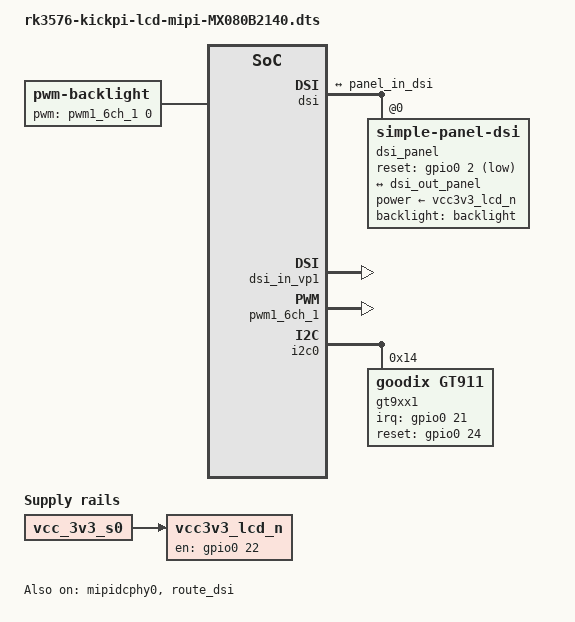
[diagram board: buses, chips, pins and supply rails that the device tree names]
/dts-v1/;
/plugin/;

/ {
    fragment@0 {
        target-path = "/";
        __overlay__ {
            backlight: backlight {
                compatible = "pwm-backlight";
                pwms = <&pwm1_6ch_1 0 25000 0>;
                brightness-levels = <
                    0  20  20  21  21  22  22  23
                    23  24  24  25  25  26  26  27
                    27  28  28  29  29  30  30  31
                    31  32  32  33  33  34  34  35
                    35  36  36  37  37  38  38  39
                    40  41  42  43  44  45  46  47
                    48  49  50  51  52  53  54  55
                    56  57  58  59  60  61  62  63
                    64  65  66  67  68  69  70  71
                    72  73  74  75  76  77  78  79
                    80  81  82  83  84  85  86  87
                    88  89  90  91  92  93  94  95
                    96  97  98  99 100 101 102 103
                    104 105 106 107 108 109 110 111
                    112 113 114 115 116 117 118 119
                    120 121 122 123 124 125 126 127
                    128 129 130 131 132 133 134 135
                    136 137 138 139 140 141 142 143
                    144 145 146 147 148 149 150 151
                    152 153 154 155 156 157 158 159
                    160 161 162 163 164 165 166 167
                    168 169 170 171 172 173 174 175
                    176 177 178 179 180 181 182 183
                    184 185 186 187 188 189 190 191
                    192 193 194 195 196 197 198 199
                    200 201 202 203 204 205 206 207
                    208 209 210 211 212 213 214 215
                    216 217 218 219 220 221 222 223
                    224 225 226 227 228 229 230 231
                    232 233 234 235 236 237 238 239
                    240 241 242 243 244 245 246 247
                    248 249 250 251 252 253 254 255
                >;
                default-brightness-level = <200>;
            };

            vcc3v3_lcd_n: vcc3v3-lcd0-n {
                compatible = "regulator-fixed";
                regulator-name = "vcc3v3_lcd0_n";
                regulator-boot-on;
                enable-active-high;
                gpio = <&gpio0 22 0>;
                vin-supply = <&vcc_3v3_s0>;
            };
        };
    };

    fragment@1 {
        target = <&dsi>;
        __overlay__ {
            status = "okay";
            #address-cells = <1>;
            #size-cells = <0>;
            dsi_panel: panel@0 {
                status = "okay";
                
                compatible = "simple-panel-dsi";
                reg = <0>;
                backlight = <&backlight>;
                power-supply = <&vcc3v3_lcd_n>;

                reset-gpios = <&gpio0 2 1>;

                reset-delay-ms = <120>;
                enable-delay-ms = <120>;
                prepare-delay-ms = <120>;
                init-delay-ms = <120>;
                unprepare-delay-ms = <60>;
                disable-delay-ms = <60>;
                
                width-mm = <68>;
                height-mm = <121>;
                
                dsi,flags = <((1 << 0) | (1 << 1) |
                        (1 << 11) | (1 << 9))>;
                dsi,format = <0>;
                dsi,lanes  = <4>;
                
                panel-init-sequence = [
                    39 00 04 FF 98 81 03
                    15 00 02 01 00
                    15 00 02 02 00
                    15 00 02 03 57  
                    15 00 02 04 D3  
                    15 00 02 05 00    
                    15 00 02 06 11    
                    15 00 02 07 08  
                    15 00 02 08 00    
                    15 00 02 09 00    
                    15 00 02 0a 3F  
                    15 00 02 0b 00    
                    15 00 02 0c 00    
                    15 00 02 0d 00    
                    15 00 02 0e 00    
                    15 00 02 0f 3F  
                    15 00 02 10 3F  
                    15 00 02 11 00      
                    15 00 02 12 00    
                    15 00 02 13 00    
                    15 00 02 14 00
                    15 00 02 15 00    
                    15 00 02 16 00    
                    15 00 02 17 00    
                    15 00 02 18 00    
                    15 00 02 19 00
                    15 00 02 1a 00
                    15 00 02 1b 00  
                    15 00 02 1c 00
                    15 00 02 1d 00
                    15 00 02 1e 40    
                    15 00 02 1f 80    
                    15 00 02 20 06    
                    15 00 02 21 01    
                    15 00 02 22 00    
                    15 00 02 23 00    
                    15 00 02 24 00    
                    15 00 02 25 00    
                    15 00 02 26 00
                    15 00 02 27 00
                    15 00 02 28 33    
                    15 00 02 29 33    
                    15 00 02 2a 00 
                    15 00 02 2b 00
                    15 00 02 2c 00    
                    15 00 02 2d 00    
                    15 00 02 2e 00    
                    15 00 02 2f 00    
                    15 00 02 30 00
                    15 00 02 31 00
                    15 00 02 32 00    
                    15 00 02 33 00
                    15 00 02 34 00    
                    15 00 02 35 00    
                    15 00 02 36 00
                    15 00 02 37 00    
                    15 00 02 38 78	
                    15 00 02 39 00
                    15 00 02 3a 00 
                    15 00 02 3b 00
                    15 00 02 3c 00
                    15 00 02 3d 00
                    15 00 02 3e 00
                    15 00 02 3f 00
                    15 00 02 40 00
                    15 00 02 41 00
                    15 00 02 42 00
                    15 00 02 43 00    
                    15 00 02 44 00
                    15 00 02 50 00
                    15 00 02 51 23
                    15 00 02 52 45
                    15 00 02 53 67
                    15 00 02 54 89
                    15 00 02 55 ab
                    15 00 02 56 01
                    15 00 02 57 23
                    15 00 02 58 45
                    15 00 02 59 67
                    15 00 02 5a 89
                    15 00 02 5b ab
                    15 00 02 5c cd
                    15 00 02 5d ef
                    15 00 02 5e 00
                    15 00 02 5f 0D   
                    15 00 02 60 0D   
                    15 00 02 61 0C   
                    15 00 02 62 0C   
                    15 00 02 63 0F   
                    15 00 02 64 0F   
                    15 00 02 65 0E   
                    15 00 02 66 0E   
                    15 00 02 67 08   
                    15 00 02 68 02   
                    15 00 02 69 02   
                    15 00 02 6a 02   
                    15 00 02 6b 02   
                    15 00 02 6c 02   
                    15 00 02 6d 02   
                    15 00 02 6e 02   
                    15 00 02 6f 02   
                    15 00 02 70 14   
                    15 00 02 71 15   
                    15 00 02 72 06   
                    15 00 02 73 02   
                    15 00 02 74 02   
                    15 00 02 75 0D   
                    15 00 02 76 0D   
                    15 00 02 77 0C   
                    15 00 02 78 0C   
                    15 00 02 79 0F   
                    15 00 02 7a 0F   
                    15 00 02 7b 0E   
                    15 00 02 7c 0E   
                    15 00 02 7d 08   
                    15 00 02 7e 02   
                    15 00 02 7f 02   
                    15 00 02 80 02   
                    15 00 02 81 02   
                    15 00 02 82 02   
                    15 00 02 83 02   
                    15 00 02 84 02   
                    15 00 02 85 02   
                    15 00 02 86 14   
                    15 00 02 87 15   
                    15 00 02 88 06   
                    15 00 02 89 02   
                    15 00 02 8A 02   
                    39 00 04 FF 98 81 04
                    15 00 02 6E 3B      
                    15 00 02 6F 57      
                    15 00 02 3A 24      
                    15 00 02 8D 1F      
                    15 00 02 87 BA      
                    15 00 02 B2 D1
                    15 00 02 88 0B
                    15 00 02 38 01   
                    15 00 02 39 00
                    15 00 02 B5 07      
                    15 00 02 31 75
                    15 00 02 3B 98 			
                    39 00 04 FF 98 81 01
                    15 00 02 22 0A     
                    15 00 02 31 09     
                    15 00 02 35 07     
                    15 00 02 53 87     
                    15 00 02 55 84     
                    15 00 02 50 86     
                    15 00 02 51 82     
                    15 00 02 60 10     
                    15 00 02 62 00
                    15 00 02 A0 00
                    15 00 02 A1 12
                    15 00 02 A2 1F
                    15 00 02 A3 12
                    15 00 02 A4 16
                    15 00 02 A5 29
                    15 00 02 A6 1E
                    15 00 02 A7 1F
                    15 00 02 A8 7E
                    15 00 02 A9 1B
                    15 00 02 AA 28
                    15 00 02 AB 6D
                    15 00 02 AC 19
                    15 00 02 AD 18
                    15 00 02 AE 4C
                    15 00 02 AF 1E
                    15 00 02 B0 23
                    15 00 02 B1 52
                    15 00 02 B2 6D
                    15 00 02 B3 3F
                    15 00 02 C0 00
                    15 00 02 C1 12
                    15 00 02 C2 20
                    15 00 02 C3 10
                    15 00 02 C4 13
                    15 00 02 C5 27
                    15 00 02 C6 1B
                    15 00 02 C7 1D
                    15 00 02 C8 75
                    15 00 02 C9 1F
                    15 00 02 CA 28
                    15 00 02 CB 68
                    15 00 02 CC 1A
                    15 00 02 CD 18
                    15 00 02 CE 4D
                    15 00 02 CF 25
                    15 00 02 D0 2E
                    15 00 02 D1 53
                    15 00 02 D2 60
                    15 00 02 D3 3F
                    39 00 04 FF 98 81 00
                    15 00 02 35 00
                    05 78 01 11
                    05 14 01 29
                ];

                panel-exit-sequence = [
                    05 00 01 28
                    05 00 01 10
                ];

                disp_timings0: display-timings {
                    native-mode = <&dsi_timing0>;
                    dsi_timing0: timing0 {
                        clock-frequency = <68000000>;
                        hactive = <800>;
                        vactive = <1280>;
                        hback-porch = <20>;
                        hfront-porch = <40>;
                        vback-porch = <20>;
                        vfront-porch = <20>;
                        hsync-len = <20>;
                        vsync-len = <4>;
                        hsync-active = <0>;
                        vsync-active = <0>;
                        de-active = <0>;
                        pixelclk-active = <0>;
                    };
                };
                ports {
                    #address-cells = <1>;
                    #size-cells = <0>;

                    port@0 {
                        reg = <0>;
                        panel_in_dsi: endpoint {
                            remote-endpoint = <&dsi_out_panel>;
                        };
                    };
                };
            };

            ports {
                #address-cells = <1>;
                #size-cells = <0>;

                port@1 {
                    reg = <1>;
                    dsi_out_panel: endpoint {
                        remote-endpoint = <&panel_in_dsi>;
                    };
                };
            };
        };
    };

    fragment@2 {
        target = <&dsi_in_vp1>;
        __overlay__ {
            status = "okay";
        };
    };

    fragment@3 {
        target = <&mipidcphy0>;
        __overlay__ {
            status = "okay";
        };
    };

    fragment@4 {
        target = <&pwm1_6ch_1>;
        __overlay__ {
            status = "okay";
            pinctrl-0 = <&pwm1m0_ch1>;
        };
    };

    fragment@5 {
        target = <&route_dsi>;
        __overlay__ {
            status = "okay";
            connect = <&vp1_out_dsi>;
        };
    };

    fragment@6 {
        target = <&i2c0>;
        __overlay__ {
            pinctrl-0 = <&i2c0m1_xfer>;
            status = "okay";
            #address-cells = <1>;
            #size-cells = <0>;
            gt9xx1: gt9xx@14 {
                status = "okay";
                compatible = "goodix,gt911";
                reg = <0x14>;
                pinctrl-names = "default";
                pinctrl-0 = <&touch1_gpio>;

                interrupt-parent = <&gpio0>;
                interrupts = <21 8>;

                irq-gpios =  <&gpio0 21 8>;
                reset-gpios = <&gpio0 24 0>;
                touchscreen-size-x = <800>;
                touchscreen-size-y = <1280>;
            };
        };
    };

    fragment@7 {
        target = <&pinctrl>;
        __overlay__ {
            touch1 {
                touch1_gpio: touch-gpio {
                    rockchip,pins =
                        <0 21 0 &pcfg_pull_up>,
                        <0 24 0 &pcfg_pull_none>;
                };
            };
        };
    };

};
